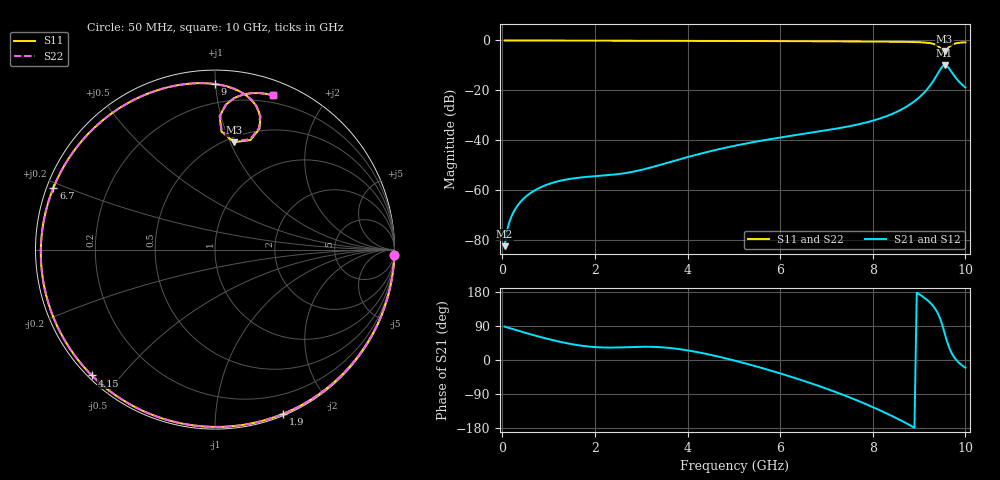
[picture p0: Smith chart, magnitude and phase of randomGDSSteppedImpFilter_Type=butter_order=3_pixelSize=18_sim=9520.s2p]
! freq	dB(S11)	phase(S11)	dB(S12)	phase(S12)
!  dB(S21)	phase(S21)	dB(S22)	phase(S22)
!S-par simulation data
#  GHz  S  DB  R 50
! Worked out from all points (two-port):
!   200 points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, 50 MHz to 10 GHz, reference 50 ohm
!   highest |S21| = -9.85 dB at 9.55 GHz (marker M1); lowest = -82.3 dB at 50 MHz (marker M2)
!   |S21| within 3 dB of the highest: 9.416 GHz to 9.711 GHz (294.6 MHz wide, 3.08 % of centre)
!   lowest |S11| = -4.3 dB at 9.55 GHz (marker M3), VSWR 4.10, Z = 27.2 + j51.7 ohm
!   |S11| at or under -10 dB: nowhere
!   |S22| runs from -4.3 to 0.0 dB; largest |S21 - S12| = 0
!   S11 on the Smith chart (normalised r, x): 50 MHz: 0, -61; 1.9 GHz: 0.02, -1.50; 4.15 GHz: 0.01, -0.42; 6.7 GHz: 0.02, +0.19; 9 GHz: 0.08, +1.00; 10 GHz: 0.13, +1.43
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0.05  -0.00 -1.9  -82.27 88.1  -82.27 88.1  -0.00 -1.9
0.15  -0.01 -5.6  -72.76 84.4  -72.76 84.4  -0.01 -5.6
0.25  -0.01 -9.3  -68.38 80.7  -68.38 80.7  -0.01 -9.3
0.55  -0.03 -20.3  -61.83 69.9  -61.83 69.9  -0.03 -20.3
1.05  -0.05 -38.3  -57.12 53.6  -57.12 53.6  -0.05 -38.3
1.75  -0.08 -62.5  -54.68 37.1  -54.68 37.1  -0.08 -62.5
1.9  -0.08 -67.5  -54.44 35.1  -54.44 35.1  -0.08 -67.5
2.6  -0.11 -89.9  -53.21 33.4  -53.21 33.4  -0.11 -89.9
3.4  -0.14 -113.6  -49.81 33.9  -49.81 33.9  -0.14 -113.6
4.15  -0.17 -134.4  -45.90 22.2  -45.90 22.2  -0.17 -134.4
5.05  -0.21 -158.1  -42.00 -2.6  -42.00 -2.6  -0.21 -158.1
5.9  -0.26 179.9  -39.12 -31.7  -39.12 -31.7  -0.26 179.9
6.7  -0.32 159.0  -36.80 -62.9  -36.80 -62.9  -0.32 159.0
7.5  -0.39 137.2  -34.28 -98.7  -34.28 -98.7  -0.39 137.3
8.35  -0.49 112.2  -29.90 -144.0  -29.90 -144.0  -0.49 112.3
9  -0.70 90.0  -22.80 173.7  -22.80 173.7  -0.70 90.1
9.25  -1.11 79.0  -17.73 149.9  -17.73 149.9  -1.10 79.2
9.4  -2.11 71.2  -13.36 124.3  -13.36 124.3  -2.09 71.4
9.55  -4.33 80.0  -9.85 71.6  -9.85 71.6  -4.26 80.0
9.65  -2.57 88.0  -11.24 32.5  -11.24 32.5  -2.54 87.8
9.75  -1.40 82.8  -13.89 8.5  -13.89 8.5  -1.38 82.6
10  -0.74 69.5  -18.82 -20.3  -18.82 -20.3  -0.74 69.4
